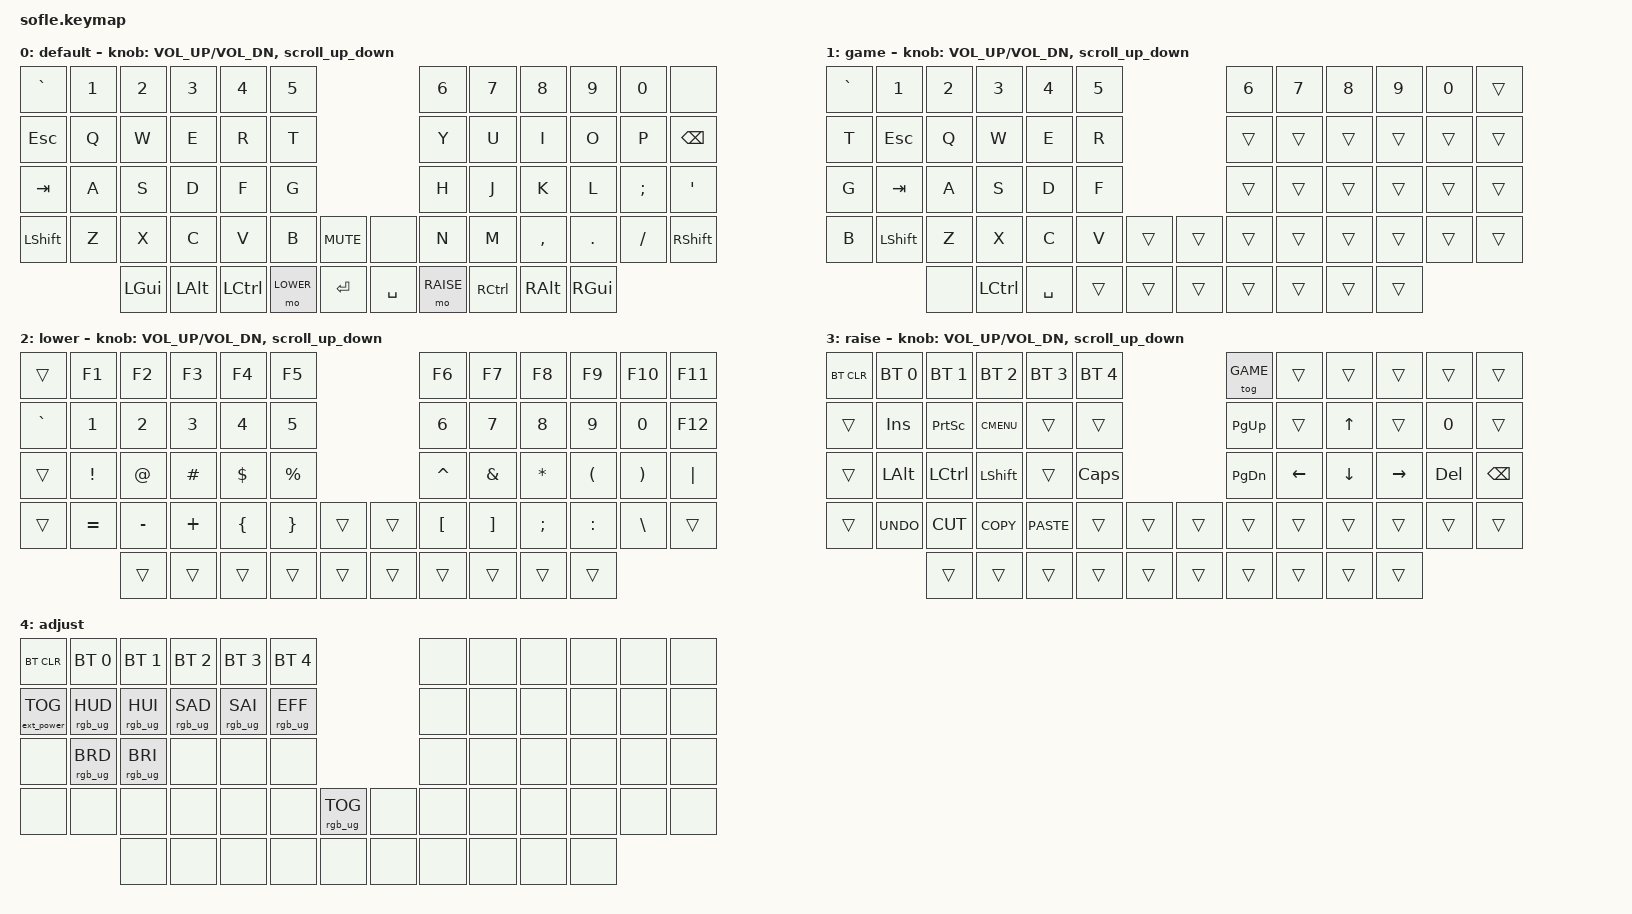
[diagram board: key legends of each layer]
/*
 * Copyright (c) 2020 The ZMK Contributors
 *
 * SPDX-License-Identifier: MIT
 */

#include <behaviors.dtsi>
#include <dt-bindings/zmk/keys.h>
#include <dt-bindings/zmk/bt.h>
#include <dt-bindings/zmk/rgb.h>
#include <dt-bindings/zmk/ext_power.h>

#define ZMK_MOUSE_SCRL_VAL 140
#include <dt-bindings/zmk/pointing.h>

#define BASE 0
#define GAME 1
#define LOWER 2
#define RAISE 3
#define ADJUST 4

/ {

   // Activate ADJUST layer by pressing raise and lower
    conditional_layers {
        compatible = "zmk,conditional-layers";
        adjust_layer {
            if-layers = <LOWER RAISE>;
            then-layer = <ADJUST>;
        };
    };

    behaviors {
        scroll_up_down: scroll_up_down {
            compatible = "zmk,behavior-sensor-rotate";
            #sensor-binding-cells = <0>;
            bindings = <&msc SCRL_UP>, <&msc SCRL_DOWN>;
            tap-ms = <250>;
        };
    };

    keymap {
        compatible = "zmk,keymap";

        default_layer {
            display-name = "default";
// ------------------------------------------------------------------------------------------------------------
// |   `   |  1  |  2  |  3  |  4   |   5   |                   |   6   |  7   |  8  |  9  |  0  |       |
// |  ESC  |  Q  |  W  |  E  |  R   |   T   |                   |   Y   |  U   |  I  |  O  |  P  | BKSPC |
// |  TAB  |  A  |  S  |  D  |  F   |   G   |                   |   H   |  J   |  K  |  L  |  ;  |   '   |
// | SHIFT |  Z  |  X  |  C  |  V   |   B   |  MUTE  |  |       |   N   |  M   |  ,  |  .  |  /  | SHIFT |
//               | GUI | ALT | CTRL | LOWER |  ENTER |  | SPACE | RAISE | CTRL | ALT | GUI |
            bindings = <
&kp GRAVE  &kp N1  &kp N2    &kp N3    &kp N4     &kp N5                            &kp N6     &kp N7     &kp N8     &kp N9    &kp N0    &none
&kp ESC    &kp Q   &kp W     &kp E     &kp R      &kp T                             &kp Y      &kp U      &kp I      &kp O     &kp P     &kp BSPC
&kp TAB    &kp A   &kp S     &kp D     &kp F      &kp G                             &kp H      &kp J      &kp K      &kp L     &kp SEMI  &kp SQT
&kp LSHFT  &kp Z   &kp X     &kp C     &kp V      &kp B      &kp C_MUTE  &none      &kp N      &kp M      &kp COMMA  &kp DOT   &kp FSLH  &kp RSHFT
                   &kp LGUI  &kp LALT  &kp LCTRL  &mo LOWER  &kp RET     &kp SPACE  &mo RAISE  &kp RCTRL  &kp RALT   &kp RGUI
            >;

            sensor-bindings = <&inc_dec_kp C_VOL_UP C_VOL_DN &scroll_up_down>;
        };

        game_layer {
            display-name = "game";
// ------------------------------------------------------------------------------------------------------------
// |  `  |   1   |  2  |  3   |   4   |  5   |                   |  6   |  7    |  8    |  9   |   0   |       |
// |  T  |  ESC  |  Q  |  W   |   E   |  R   |                   |  Y   |  U    |  I    |  O   |   P   | BKSPC |
// |  G  |  TAB  |  A  |  S   |   D   |  F   |                   |  H   |  J    |  K    |  L   |   ;   |   '   |
// |  B  | SHIFT |  Z  |  X   |   C   |  V   |  MUTE  |  |       |  N   |  M    |  ,    |  .   |   /   | SHIFT |
//               |     | CTRL | SPACE | LOWER|  ENTER |  | SPACE | RAISE| CTRL  | ALT   | GUI  |
            bindings = <
&kp GRAVE  &kp N1     &kp N2  &kp N3     &kp N4     &kp N5                  &kp N6  &kp N7  &kp N8  &kp N9  &kp N0  &trans
&kp T      &kp ESC    &kp Q   &kp W      &kp E      &kp R                   &trans  &trans  &trans  &trans  &trans  &trans
&kp G      &kp TAB    &kp A   &kp S      &kp D      &kp F                   &trans  &trans  &trans  &trans  &trans  &trans
&kp B      &kp LSHFT  &kp Z   &kp X      &kp C      &kp V   &trans  &trans  &trans  &trans  &trans  &trans  &trans  &trans
                      &none   &kp LCTRL  &kp SPACE  &trans  &trans  &trans  &trans  &trans  &trans  &trans
            >;

            sensor-bindings = <&inc_dec_kp C_VOL_UP C_VOL_DN &scroll_up_down>;
        };

        lower_layer {
            display-name = "lower";
// TODO: Some binds are waiting for shifted keycode support.
// ------------------------------------------------------------------------------------------------------------
// |       |  F1 |  F2 |  F3 |  F4 |  F5 |                |  F6 |  F7 |  F8 |  F9 |  F10  |  F11  |
// |   `   |  1  |  2  |  3  |  4  |  5  |                |  6  |  7  |  8  |  9  |   0   |  F12  |
// |       |  !  |  @  |  #  |  $  |  %  |                |  ^  |  &  |  *  |  (  |   )   |   |   |
// |       |  =  |  -  |  +  |  {  |  }  |      |  |      |  [  |  ]  |  ;  |  :  |   \   |       |
//               |     |     |     |     |      |  |      |     |     |     |     |
            bindings = <
&trans     &kp F1     &kp F2     &kp F3    &kp F4    &kp F5                     &kp F6     &kp F7    &kp F8     &kp F9     &kp F10   &kp F11
&kp GRAVE  &kp N1     &kp N2     &kp N3    &kp N4    &kp N5                     &kp N6     &kp N7    &kp N8     &kp N9     &kp N0    &kp F12
&trans     &kp EXCL   &kp AT     &kp HASH  &kp DLLR  &kp PRCNT                  &kp CARET  &kp AMPS  &kp ASTRK  &kp LPAR   &kp RPAR  &kp PIPE
&trans     &kp EQUAL  &kp MINUS  &kp PLUS  &kp LBRC  &kp RBRC   &trans  &trans  &kp LBKT   &kp RBKT  &kp SEMI   &kp COLON  &kp BSLH  &trans
                      &trans     &trans    &trans    &trans     &trans  &trans  &trans     &trans    &trans     &trans
            >;

            sensor-bindings = <&inc_dec_kp C_VOL_UP C_VOL_DN &scroll_up_down>;
        };

        raise_layer {
            display-name = "raise";
// ------------------------------------------------------------------------------------------------------------
// | BTCLR | BT1  | BT2  |  BT3  |  BT4  |  BT5 |                | GAME |      |       |      |       |       |
// |       | INS  | PSCR | GUI   |       |      |                | PGUP |      |   ^   |      |       |       |
// |       | ALT  | CTRL | SHIFT |       | CAPS |                | PGDN |   <- |   v   |  ->  |  DEL  | BKSPC |
// |       | UNDO | CUT  | COPY  | PASTE |      |      |  |      |      |      |       |      |       |       |
//                |      |       |       |      |      |  |      |      |      |       |      |
            bindings = <
&bt BT_CLR  &bt BT_SEL 0  &bt BT_SEL 1  &bt BT_SEL 2  &bt BT_SEL 3  &bt BT_SEL 4                  &tog GAME  &trans    &trans    &trans     &trans   &trans
&trans      &kp INS       &kp PSCRN     &kp K_CMENU   &trans        &trans                        &kp PG_UP  &trans    &kp UP    &trans     &kp N0   &trans
&trans      &kp LALT      &kp LCTRL     &kp LSHFT     &trans        &kp CLCK                      &kp PG_DN  &kp LEFT  &kp DOWN  &kp RIGHT  &kp DEL  &kp BSPC
&trans      &kp K_UNDO    &kp K_CUT     &kp K_COPY    &kp K_PASTE   &trans        &trans  &trans  &trans     &trans    &trans    &trans     &trans   &trans
                          &trans        &trans        &trans        &trans        &trans  &trans  &trans     &trans    &trans    &trans
            >;

            sensor-bindings = <&inc_dec_kp C_VOL_UP C_VOL_DN &scroll_up_down>;
        };

        adjust_layer {
// ----------------------------------------------------------------------------------------------------------------------------
// | BTCLR  |  BT1    |  BT2    |   BT3   |   BT4   |   BT5   |                  |      |      |       |      |       |       |
// | EXTPWR | RGB_HUD | RGB_HUI | RGB_SAD | RGB_SAI | RGB_EFF |                  |      |      |       |      |       |       |
// |        | RGB_BRD | RGB_BRI |         |         |         |                  |      |      |       |      |       |       |
// |        |         |         |         |         |         | RGB_TOG | |      |      |      |       |      |       |       |
//                    |         |         |         |         |         | |      |      |      |       |      |
            display-name = "adjust";
            bindings = <
&bt BT_CLR         &bt BT_SEL 0     &bt BT_SEL 1     &bt BT_SEL 2     &bt BT_SEL 3     &bt BT_SEL 4                             &none  &none  &none  &none  &none  &none
&ext_power EP_TOG  &rgb_ug RGB_HUD  &rgb_ug RGB_HUI  &rgb_ug RGB_SAD  &rgb_ug RGB_SAI  &rgb_ug RGB_EFF                          &none  &none  &none  &none  &none  &none
&none              &rgb_ug RGB_BRD  &rgb_ug RGB_BRI  &none            &none            &none                                    &none  &none  &none  &none  &none  &none
&none              &none            &none            &none            &none            &none            &rgb_ug RGB_TOG  &none  &none  &none  &none  &none  &none  &none
                                    &none            &none            &none            &none            &none            &none  &none  &none  &none  &none
            >;
        };
    };
};
